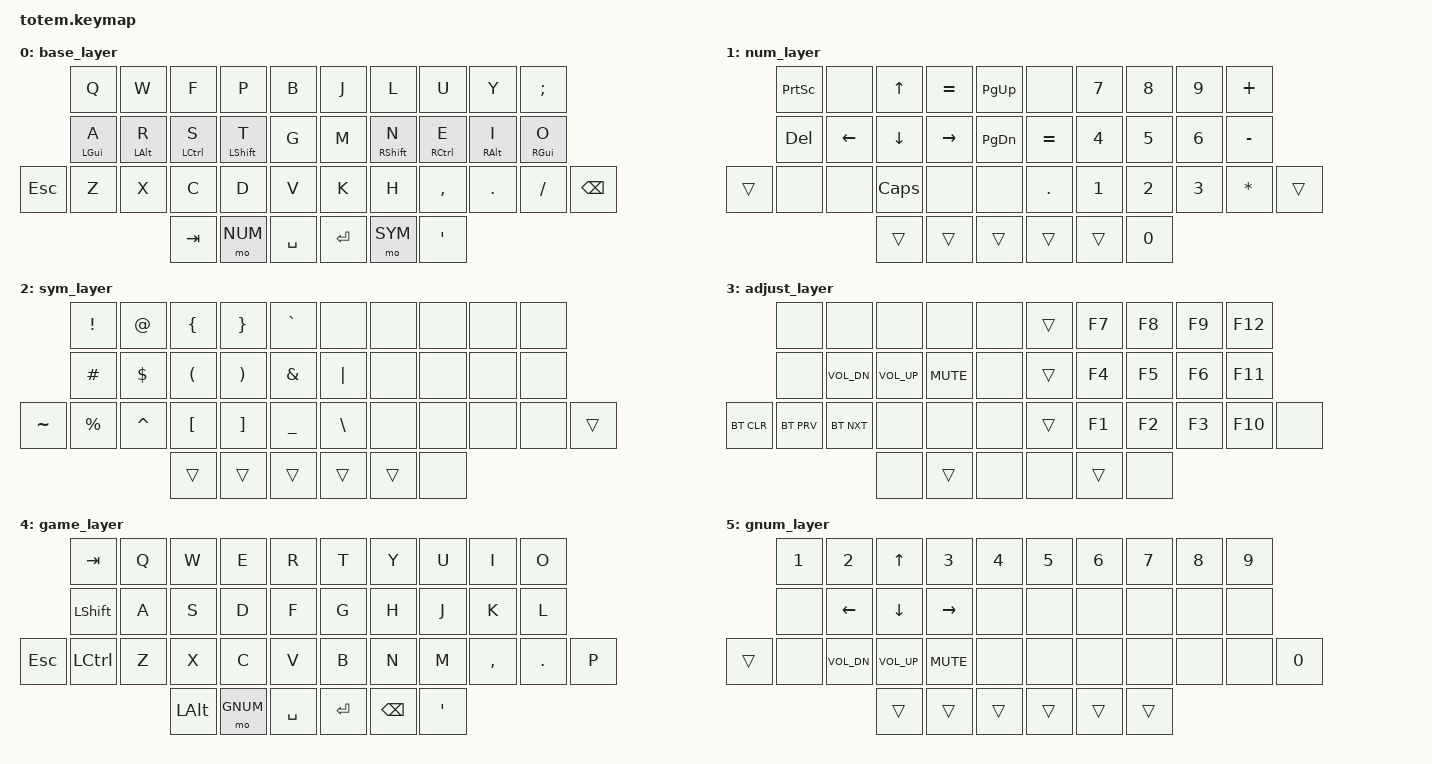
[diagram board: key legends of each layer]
//
//                                                        ▀▀▀▀▀     ▀▀▀▀▀          ▀▀█▀▀
//                                                        ▄▀▀▀▄  ▄  ▄▀▀▀▄  ▄  ▄▀▀▀▄  █  ▄▀▀▀▄
//                                                        █   █  █  █   █  █  █   █  █  █   █
//                                                         ▀▀▀   █   ▀▀▀   █   ▀▀▀   ▀   ▀▀▀
//                                                               █      ▄▄▄█▄▄▄    █   █  
//                                                               ▀      █  █  █     █▄█
//                                                             ▀▀▀▀▀    █  █  █      ▀
//                                                                      ▀  ▀  ▀
//
// ▄▄▄▄▄▄▄▄▄▄▄▄▄▄▄▄▄▄▄▄▄▄▄▄▄▄▄▄▄▄▄▄▄▄▄▄▄▄▄▄▄▄▄▄▄▄▄▄▄▄▄▄▄▄▄▄▄▄▄▄▄▄▄▄▄▄▄▄▄▄▄▄▄▄▄▄▄▄▄▄▄▄▄▄▄▄▄▄▄▄▄▄▄▄▄▄▄▄▄▄▄▄▄▄▄▄▄▄▄▄▄▄▄▄▄▄▄▄▄▄▄▄▄▄▄▄▄▄▄▄▄▄▄▄▄▄▄▄▄▄▄▄▄▄▄▄▄▄▄
       

#include <behaviors.dtsi>
#include <dt-bindings/zmk/keys.h>
#include <dt-bindings/zmk/bt.h>
#include <dt-bindings/zmk/outputs.h>

#define MAIN 0
#define NUM  1
#define SYM  2
#define ADJ  3
#define GAME 4
#define GNUM 5

&mt {
  quick-tap-ms = <120>;
  global-quick-tap;
  flavor = "tap-preferred";
  tapping-term-ms = <170>;
};
 
/ {
     combos {
            compatible = "zmk,combos";
            combo_game {
                timeout-ms = <50>;
                key-positions = <14 20>;
                bindings = <&tog GAME>;
            };
    };

    conditional_layers {
        compatible = "zmk,conditional-layers";
        tri_layer {
            if-layers = <NUM SYM>;
            then-layer = <ADJ>;
        };
    };

    macros {
    };

        keymap {
                compatible = "zmk,keymap";
// ▄▄▄▄▄▄▄▄▄▄▄▄▄▄▄▄▄▄▄▄▄▄▄▄▄▄▄▄▄▄▄▄▄▄▄▄▄▄▄▄▄▄▄▄▄▄▄▄▄▄▄▄▄▄▄▄▄▄▄▄▄▄▄▄▄▄▄▄▄▄▄▄▄▄▄▄▄▄▄▄▄▄▄▄▄▄▄▄▄▄▄▄▄▄▄▄▄▄▄▄▄▄▄▄▄▄▄▄▄▄▄▄▄▄▄▄▄▄▄▄▄▄▄▄▄▄▄▄▄▄▄▄▄▄▄▄▄▄▄▄▄▄▄▄▄▄▄▄▄

                base_layer {
// ┏━━━━━━━━━━━━━━━━━━━━━━━━━━━━━━━━━━━━━━━┓
// ┃               "BASE"                  ┃
// ┗━━━━━━━━━━━━━━━━━━━━━━━━━━━━━━━━━━━━━━━┛
//             ┏━━━━━━━━━━━┳━━━━━━━━━━━┳━━━━━━━━━━━┳━━━━━━━━━━━┳━━━━━━━━━━━┓   ┏━━━━━━━━━━━┳━━━━━━━━━━━┳━━━━━━━━━━━┳━━━━━━━━━━━┳━━━━━━━━━━━┓
//             ┃     Q     ┃     W     ┃     F     ┃     P     ┃     B     ┃   ┃     J     ┃     L     ┃     U     ┃     Y     ┃     ;     ┃
//             ┣━━━━━━━━━━━╋━━━━━━━━━━━╋━━━━━━━━━━━╋━━━━━━━━━━━╋━━━━━━━━━━━┫   ┣━━━━━━━━━━━╋━━━━━━━━━━━╋━━━━━━━━━━━╋━━━━━━━━━━━╋━━━━━━━━━━━┫
//             ┃     A     ┃     R     ┃     S     ┃     T     ┃     G     ┃   ┃     M     ┃     N     ┃     E     ┃     I     ┃     O     ┃
// ┏━━━━━━━━━━━╋━━━━━━━━━━━╋━━━━━━━━━━━╋━━━━━━━━━━━╋━━━━━━━━━━━╋━━━━━━━━━━━┫   ┣━━━━━━━━━━━╋━━━━━━━━━━━╋━━━━━━━━━━━╋━━━━━━━━━━━╋━━━━━━━━━━━╋━━━━━━━━━━━┓
// ┃    ESC    ┃     Z     ┃     X     ┃     C     ┃     D     ┃     V     ┃   ┃     K     ┃     H     ┃     ,     ┃     .     ┃     /     ┃    BSPC   ┃
// ┗━━━━━━━━━━━┻━━━━━━━━━━━┻━━━━━━━━━━━╋━━━━━━━━━━━╋━━━━━━━━━━━╋━━━━━━━━━━━┫   ┣━━━━━━━━━━━╋━━━━━━━━━━━╋━━━━━━━━━━━╋━━━━━━━━━━━┻━━━━━━━━━━━┻━━━━━━━━━━━┛
//                                     ┃    TAB    ┃    NUM    ┃    SPC    ┃   ┃   ENTER   ┃    SYM    ┃     '     ┃
//                                     ┗━━━━━━━━━━━┻━━━━━━━━━━━┻━━━━━━━━━━━┛   ┗━━━━━━━━━━━┻━━━━━━━━━━━┻━━━━━━━━━━━┛
 bindings = <
// ╷           ╷           ╷           ╷           ╷           ╷           ╷   ╷           ╷           ╷           ╷           ╷           ╷           ╷

                &kp Q       &kp W       &kp F       &kp P       &kp B           &kp J       &kp L       &kp U       &kp Y       &kp SEMI
                &mt LGUI A  &mt LALT R  &mt LCTRL S &mt LSHFT T &kp G           &kp M       &mt RSHFT N &mt RCTRL E &mt RALT I  &mt RGUI O
    &kp ESC     &kp Z       &kp X       &kp C       &kp D       &kp V           &kp K       &kp H       &kp COMMA   &kp DOT     &kp FSLH    &kp BSPC
                                        &kp TAB     &mo NUM     &kp SPACE       &kp RET     &mo SYM     &kp APOS 
                        >;
                };

// ▄▄▄▄▄▄▄▄▄▄▄▄▄▄▄▄▄▄▄▄▄▄▄▄▄▄▄▄▄▄▄▄▄▄▄▄▄▄▄▄▄▄▄▄▄▄▄▄▄▄▄▄▄▄▄▄▄▄▄▄▄▄▄▄▄▄▄▄▄▄▄▄▄▄▄▄▄▄▄▄▄▄▄▄▄▄▄▄▄▄▄▄▄▄▄▄▄▄▄▄▄▄▄▄▄▄▄▄▄▄▄▄▄▄▄▄▄▄▄▄▄▄▄▄▄▄▄▄▄▄▄▄▄▄▄▄▄▄▄▄▄▄▄▄▄▄▄▄▄


                num_layer {
// ┏━━━━━━━━━━━━━━━━━━━━━━━━━━━━━━━━━━━━━━━┓
// ┃               "NUM"                   ┃
// ┗━━━━━━━━━━━━━━━━━━━━━━━━━━━━━━━━━━━━━━━┛
//             ┏━━━━━━━━━━━┳━━━━━━━━━━━┳━━━━━━━━━━━┳━━━━━━━━━━━┳━━━━━━━━━━━┓   ┏━━━━━━━━━━━┳━━━━━━━━━━━┳━━━━━━━━━━━┳━━━━━━━━━━━┳━━━━━━━━━━━┓
//             ┃   PRINT   ┃           ┃     UP    ┃           ┃   PG UP   ┃   ┃           ┃     7     ┃     8     ┃     9     ┃     +     ┃
//             ┣━━━━━━━━━━━╋━━━━━━━━━━━╋━━━━━━━━━━━╋━━━━━━━━━━━╋━━━━━━━━━━━┫   ┣━━━━━━━━━━━╋━━━━━━━━━━━╋━━━━━━━━━━━╋━━━━━━━━━━━╋━━━━━━━━━━━┫
//             ┃    DEL    ┃   LEFT    ┃    DOWN   ┃   RIGHT   ┃  PG DOWN  ┃   ┃     =     ┃     4     ┃     5     ┃     6     ┃     -     ┃
// ┏━━━━━━━━━━━╋━━━━━━━━━━━╋━━━━━━━━━━━╋━━━━━━━━━━━╋━━━━━━━━━━━╋━━━━━━━━━━━┫   ┣━━━━━━━━━━━╋━━━━━━━━━━━╋━━━━━━━━━━━╋━━━━━━━━━━━╋━━━━━━━━━━━╋━━━━━━━━━━━┓
// ┃           ┃           ┃           ┃  C LOCK   ┃           ┃           ┃   ┃     .     ┃     1     ┃     2     ┃     3     ┃     *     ┃           ┃
// ┗━━━━━━━━━━━┻━━━━━━━━━━━┻━━━━━━━━━━━╋━━━━━━━━━━━╋━━━━━━━━━━━╋━━━━━━━━━━━┫   ┣━━━━━━━━━━━╋━━━━━━━━━━━╋━━━━━━━━━━━╋━━━━━━━━━━━┻━━━━━━━━━━━┻━━━━━━━━━━━┛
//                                     ┃           ┃           ┃           ┃   ┃           ┃           ┃     0     ┃
//                                     ┗━━━━━━━━━━━┻━━━━━━━━━━━┻━━━━━━━━━━━┛   ┗━━━━━━━━━━━┻━━━━━━━━━━━┻━━━━━━━━━━━┛
 bindings = <
// ╷           ╷           ╷           ╷           ╷           ╷           ╷   ╷           ╷           ╷           ╷           ╷           ╷           ╷

                &kp PSCRN   &none       &kp UP      &kp EQUAL   &kp PG_UP       &none       &kp N7      &kp N8      &kp N9      &kp PLUS
                &kp DEL     &kp LEFT    &kp DOWN    &kp RIGHT   &kp PG_DN       &kp EQUAL   &kp N4      &kp N5      &kp N6      &kp MINUS
    &trans      &none       &none       &kp CAPS    &none       &none           &kp DOT     &kp N1      &kp N2      &kp N3      &kp STAR     &trans      
                                        &trans      &trans      &trans          &trans      &trans      &kp N0      
                        >;
                };

// ▄▄▄▄▄▄▄▄▄▄▄▄▄▄▄▄▄▄▄▄▄▄▄▄▄▄▄▄▄▄▄▄▄▄▄▄▄▄▄▄▄▄▄▄▄▄▄▄▄▄▄▄▄▄▄▄▄▄▄▄▄▄▄▄▄▄▄▄▄▄▄▄▄▄▄▄▄▄▄▄▄▄▄▄▄▄▄▄▄▄▄▄▄▄▄▄▄▄▄▄▄▄▄▄▄▄▄▄▄▄▄▄▄▄▄▄▄▄▄▄▄▄▄▄▄▄▄▄▄▄▄▄▄▄▄▄▄▄▄▄▄▄▄▄▄▄▄▄▄


                sym_layer {
// ┏━━━━━━━━━━━━━━━━━━━━━━━━━━━━━━━━━━━━━━━┓
// ┃               "SYM"                   ┃
// ┗━━━━━━━━━━━━━━━━━━━━━━━━━━━━━━━━━━━━━━━┛
//             ┏━━━━━━━━━━━┳━━━━━━━━━━━┳━━━━━━━━━━━┳━━━━━━━━━━━┳━━━━━━━━━━━┓   ┏━━━━━━━━━━━┳━━━━━━━━━━━┳━━━━━━━━━━━┳━━━━━━━━━━━┳━━━━━━━━━━━┓
//             ┃     !     ┃     @     ┃     {     ┃     }     ┃     `     ┃   ┃           ┃           ┃           ┃           ┃           ┃
//             ┣━━━━━━━━━━━╋━━━━━━━━━━━╋━━━━━━━━━━━╋━━━━━━━━━━━╋━━━━━━━━━━━┫   ┣━━━━━━━━━━━╋━━━━━━━━━━━╋━━━━━━━━━━━╋━━━━━━━━━━━╋━━━━━━━━━━━┫
//             ┃     #     ┃     $     ┃     (     ┃     )     ┃     &     ┃   ┃     |     ┃           ┃           ┃           ┃           ┃
// ┏━━━━━━━━━━━╋━━━━━━━━━━━╋━━━━━━━━━━━╋━━━━━━━━━━━╋━━━━━━━━━━━╋━━━━━━━━━━━┫   ┣━━━━━━━━━━━╋━━━━━━━━━━━╋━━━━━━━━━━━╋━━━━━━━━━━━╋━━━━━━━━━━━╋━━━━━━━━━━━┓
// ┃     ~     ┃     %     ┃     ^     ┃     [     ┃     ]     ┃     _     ┃   ┃     \     ┃           ┃           ┃           ┃           ┃           ┃
// ┗━━━━━━━━━━━┻━━━━━━━━━━━┻━━━━━━━━━━━╋━━━━━━━━━━━╋━━━━━━━━━━━╋━━━━━━━━━━━┫   ┣━━━━━━━━━━━╋━━━━━━━━━━━╋━━━━━━━━━━━╋━━━━━━━━━━━┻━━━━━━━━━━━┻━━━━━━━━━━━┛
//                                     ┃           ┃           ┃           ┃   ┃           ┃           ┃           ┃
//                                     ┗━━━━━━━━━━━┻━━━━━━━━━━━┻━━━━━━━━━━━┛   ┗━━━━━━━━━━━┻━━━━━━━━━━━┻━━━━━━━━━━━┛
 bindings = <
// ╷           ╷           ╷           ╷           ╷           ╷           ╷   ╷           ╷           ╷           ╷           ╷           ╷           ╷

                &kp EXCL    &kp AT      &kp LBRC    &kp RBRC    &kp GRAVE       &none        &none        &none     &none      &none       
                &kp HASH    &kp DLLR    &kp LPAR    &kp RPAR    &kp AMPS        &kp PIPE     &none        &none     &none      &none 
    &kp TILDE   &kp PRCNT   &kp CARET   &kp LBKT    &kp RBKT    &kp UNDER       &kp BSLH     &none        &none     &none      &none        &trans         
                                        &trans      &trans      &trans          &trans       &trans       &none      
                        >;
                };

// ▄▄▄▄▄▄▄▄▄▄▄▄▄▄▄▄▄▄▄▄▄▄▄▄▄▄▄▄▄▄▄▄▄▄▄▄▄▄▄▄▄▄▄▄▄▄▄▄▄▄▄▄▄▄▄▄▄▄▄▄▄▄▄▄▄▄▄▄▄▄▄▄▄▄▄▄▄▄▄▄▄▄▄▄▄▄▄▄▄▄▄▄▄▄▄▄▄▄▄▄▄▄▄▄▄▄▄▄▄▄▄▄▄▄▄▄▄▄▄▄▄▄▄▄▄▄▄▄▄▄▄▄▄▄▄▄▄▄▄▄▄▄▄▄▄▄▄▄▄


                adjust_layer {
// ┏━━━━━━━━━━━━━━━━━━━━━━━━━━━━━━━━━━━━━━━┓
// ┃               "ADJ"                   ┃
// ┗━━━━━━━━━━━━━━━━━━━━━━━━━━━━━━━━━━━━━━━┛
//             ┏━━━━━━━━━━━┳━━━━━━━━━━━┳━━━━━━━━━━━┳━━━━━━━━━━━┳━━━━━━━━━━━┓   ┏━━━━━━━━━━━┳━━━━━━━━━━━┳━━━━━━━━━━━┳━━━━━━━━━━━┳━━━━━━━━━━━┓
//             ┃           ┃           ┃           ┃           ┃           ┃   ┃           ┃    F7     ┃    F8     ┃    F9     ┃    F12    ┃
//             ┣━━━━━━━━━━━╋━━━━━━━━━━━╋━━━━━━━━━━━╋━━━━━━━━━━━╋━━━━━━━━━━━┫   ┣━━━━━━━━━━━╋━━━━━━━━━━━╋━━━━━━━━━━━╋━━━━━━━━━━━╋━━━━━━━━━━━┫
//             ┃           ┃ VOL DOWN  ┃  VOL UP   ┃   MUTE    ┃           ┃   ┃           ┃    F4     ┃    F5     ┃    F6     ┃    F11    ┃
// ┏━━━━━━━━━━━╋━━━━━━━━━━━╋━━━━━━━━━━━╋━━━━━━━━━━━╋━━━━━━━━━━━╋━━━━━━━━━━━┫   ┣━━━━━━━━━━━╋━━━━━━━━━━━╋━━━━━━━━━━━╋━━━━━━━━━━━╋━━━━━━━━━━━╋━━━━━━━━━━━┓
// ┃  BT CLEAR ┃  BT_PREV  ┃  BT_NEXT  ┃           ┃           ┃           ┃   ┃           ┃    F1     ┃    F2     ┃    F3     ┃    F10    ┃           ┃
// ┗━━━━━━━━━━━┻━━━━━━━━━━━┻━━━━━━━━━━━╋━━━━━━━━━━━╋━━━━━━━━━━━╋━━━━━━━━━━━┫   ┣━━━━━━━━━━━╋━━━━━━━━━━━╋━━━━━━━━━━━╋━━━━━━━━━━━┻━━━━━━━━━━━┻━━━━━━━━━━━┛
//                                     ┃           ┃           ┃           ┃   ┃           ┃           ┃           ┃
//                                     ┗━━━━━━━━━━━┻━━━━━━━━━━━┻━━━━━━━━━━━┛   ┗━━━━━━━━━━━┻━━━━━━━━━━━┻━━━━━━━━━━━┛
 bindings = <
// ╷           ╷           ╷           ╷           ╷           ╷           ╷   ╷           ╷           ╷           ╷           ╷           ╷           ╷

                &none       &none        &none        &none       &none          &trans      &kp F7      &kp F8      &kp F9      &kp F12
                &none       &kp C_VOL_DN &kp C_VOL_UP &kp C_MUTE  &none          &trans      &kp F4      &kp F5      &kp F6      &kp F11
    &bt BT_CLR  &bt BT_PRV  &bt BT_NXT   &none        &none       &none          &trans      &kp F1      &kp F2      &kp F3      &kp F10     &none         
                                         &none        &trans      &none          &none       &trans      &none      
                        >;
                };

// ▄▄▄▄▄▄▄▄▄▄▄▄▄▄▄▄▄▄▄▄▄▄▄▄▄▄▄▄▄▄▄▄▄▄▄▄▄▄▄▄▄▄▄▄▄▄▄▄▄▄▄▄▄▄▄▄▄▄▄▄▄▄▄▄▄▄▄▄▄▄▄▄▄▄▄▄▄▄▄▄▄▄▄▄▄▄▄▄▄▄▄▄▄▄▄▄▄▄▄▄▄▄▄▄▄▄▄▄▄▄▄▄▄▄▄▄▄▄▄▄▄▄▄▄▄▄▄▄▄▄▄▄▄▄▄▄▄▄▄▄▄▄▄▄▄▄▄▄▄


                game_layer {
// ┏━━━━━━━━━━━━━━━━━━━━━━━━━━━━━━━━━━━━━━━┓
// ┃               "GAME"                  ┃
// ┗━━━━━━━━━━━━━━━━━━━━━━━━━━━━━━━━━━━━━━━┛
//             ┏━━━━━━━━━━━┳━━━━━━━━━━━┳━━━━━━━━━━━┳━━━━━━━━━━━┳━━━━━━━━━━━┓   ┏━━━━━━━━━━━┳━━━━━━━━━━━┳━━━━━━━━━━━┳━━━━━━━━━━━┳━━━━━━━━━━━┓
//             ┃   TAB     ┃     Q     ┃     W     ┃     E     ┃     R     ┃   ┃     T     ┃     Y     ┃     U     ┃     I     ┃     O     ┃
//             ┣━━━━━━━━━━━╋━━━━━━━━━━━╋━━━━━━━━━━━╋━━━━━━━━━━━╋━━━━━━━━━━━┫   ┣━━━━━━━━━━━╋━━━━━━━━━━━╋━━━━━━━━━━━╋━━━━━━━━━━━╋━━━━━━━━━━━┫
//             ┃   SHIFT   ┃     A     ┃     S     ┃     D     ┃     F     ┃   ┃     G     ┃     H     ┃     J     ┃     K     ┃     L     ┃
// ┏━━━━━━━━━━━╋━━━━━━━━━━━╋━━━━━━━━━━━╋━━━━━━━━━━━╋━━━━━━━━━━━╋━━━━━━━━━━━┫   ┣━━━━━━━━━━━╋━━━━━━━━━━━╋━━━━━━━━━━━╋━━━━━━━━━━━╋━━━━━━━━━━━╋━━━━━━━━━━━┓
// ┃    ESC    ┃   CTRL    ┃     Z     ┃     X     ┃     C     ┃     V     ┃   ┃     B     ┃     N     ┃     M     ┃     ,     ┃     .     ┃     P     ┃
// ┗━━━━━━━━━━━┻━━━━━━━━━━━┻━━━━━━━━━━━╋━━━━━━━━━━━╋━━━━━━━━━━━╋━━━━━━━━━━━┫   ┣━━━━━━━━━━━╋━━━━━━━━━━━╋━━━━━━━━━━━╋━━━━━━━━━━━┻━━━━━━━━━━━┻━━━━━━━━━━━┛
//                                     ┃    ALT    ┃    GNUM   ┃    SPC    ┃   ┃   ENTER   ┃    BSPC   ┃     '     ┃
//                                     ┗━━━━━━━━━━━┻━━━━━━━━━━━┻━━━━━━━━━━━┛   ┗━━━━━━━━━━━┻━━━━━━━━━━━┻━━━━━━━━━━━┛
 bindings = <
// ╷           ╷           ╷           ╷           ╷           ╷           ╷   ╷           ╷           ╷           ╷           ╷           ╷           ╷

                &kp TAB     &kp Q       &kp W       &kp E       &kp R           &kp T       &kp Y       &kp U       &kp I       &kp O
                &kp LSHFT   &kp A       &kp S       &kp D       &kp F           &kp G       &kp H       &kp J       &kp K       &kp L
    &kp ESC     &kp LCTRL   &kp Z       &kp X       &kp C       &kp V           &kp B       &kp N       &kp M       &kp COMMA   &kp DOT      &kp P        
                                        &kp LALT    &mo GNUM    &kp SPC         &kp RET     &kp BSPC    &kp APOS    
                        >;
                };

// ▄▄▄▄▄▄▄▄▄▄▄▄▄▄▄▄▄▄▄▄▄▄▄▄▄▄▄▄▄▄▄▄▄▄▄▄▄▄▄▄▄▄▄▄▄▄▄▄▄▄▄▄▄▄▄▄▄▄▄▄▄▄▄▄▄▄▄▄▄▄▄▄▄▄▄▄▄▄▄▄▄▄▄▄▄▄▄▄▄▄▄▄▄▄▄▄▄▄▄▄▄▄▄▄▄▄▄▄▄▄▄▄▄▄▄▄▄▄▄▄▄▄▄▄▄▄▄▄▄▄▄▄▄▄▄▄▄▄▄▄▄▄▄▄▄▄▄▄▄


                gnum_layer {
// ┏━━━━━━━━━━━━━━━━━━━━━━━━━━━━━━━━━━━━━━━┓
// ┃               "GNUM"                  ┃
// ┗━━━━━━━━━━━━━━━━━━━━━━━━━━━━━━━━━━━━━━━┛
//             ┏━━━━━━━━━━━┳━━━━━━━━━━━┳━━━━━━━━━━━┳━━━━━━━━━━━┳━━━━━━━━━━━┓   ┏━━━━━━━━━━━┳━━━━━━━━━━━┳━━━━━━━━━━━┳━━━━━━━━━━━┳━━━━━━━━━━━┓
//             ┃     1     ┃     2     ┃    UP     ┃     3     ┃     4     ┃   ┃     5     ┃     6     ┃     7     ┃     8     ┃     9     ┃
//             ┣━━━━━━━━━━━╋━━━━━━━━━━━╋━━━━━━━━━━━╋━━━━━━━━━━━╋━━━━━━━━━━━┫   ┣━━━━━━━━━━━╋━━━━━━━━━━━╋━━━━━━━━━━━╋━━━━━━━━━━━╋━━━━━━━━━━━┫
//             ┃           ┃   LEFT    ┃   DOWN    ┃   RIGHT   ┃           ┃   ┃           ┃           ┃           ┃           ┃           ┃
// ┏━━━━━━━━━━━╋━━━━━━━━━━━╋━━━━━━━━━━━╋━━━━━━━━━━━╋━━━━━━━━━━━╋━━━━━━━━━━━┫   ┣━━━━━━━━━━━╋━━━━━━━━━━━╋━━━━━━━━━━━╋━━━━━━━━━━━╋━━━━━━━━━━━╋━━━━━━━━━━━┓
// ┃           ┃           ┃  VOL DOWN ┃  VOL UP   ┃   MUTE    ┃           ┃   ┃           ┃           ┃           ┃           ┃           ┃     0     ┃
// ┗━━━━━━━━━━━┻━━━━━━━━━━━┻━━━━━━━━━━━╋━━━━━━━━━━━╋━━━━━━━━━━━╋━━━━━━━━━━━┫   ┣━━━━━━━━━━━╋━━━━━━━━━━━╋━━━━━━━━━━━╋━━━━━━━━━━━┻━━━━━━━━━━━┻━━━━━━━━━━━┛
//                                     ┃           ┃           ┃           ┃   ┃           ┃           ┃           ┃
//                                     ┗━━━━━━━━━━━┻━━━━━━━━━━━┻━━━━━━━━━━━┛   ┗━━━━━━━━━━━┻━━━━━━━━━━━┻━━━━━━━━━━━┛
 bindings = <
// ╷           ╷           ╷           ╷           ╷           ╷           ╷   ╷           ╷           ╷           ╷           ╷           ╷           ╷

                &kp N1      &kp N2       &kp UP       &kp N3       &kp N4          &kp N5      &kp N6      &kp N7      &kp N8      &kp N9
                &none       &kp LEFT     &kp DOWN     &kp RIGHT    &none           &none       &none       &none       &none       &none  
    &trans      &none       &kp C_VOL_DN &kp C_VOL_UP &kp C_MUTE   &none           &none       &none       &none       &none       &none       &kp N0         
                                         &trans       &trans       &trans          &trans      &trans      &trans      
                        >;
                };
        };
};
